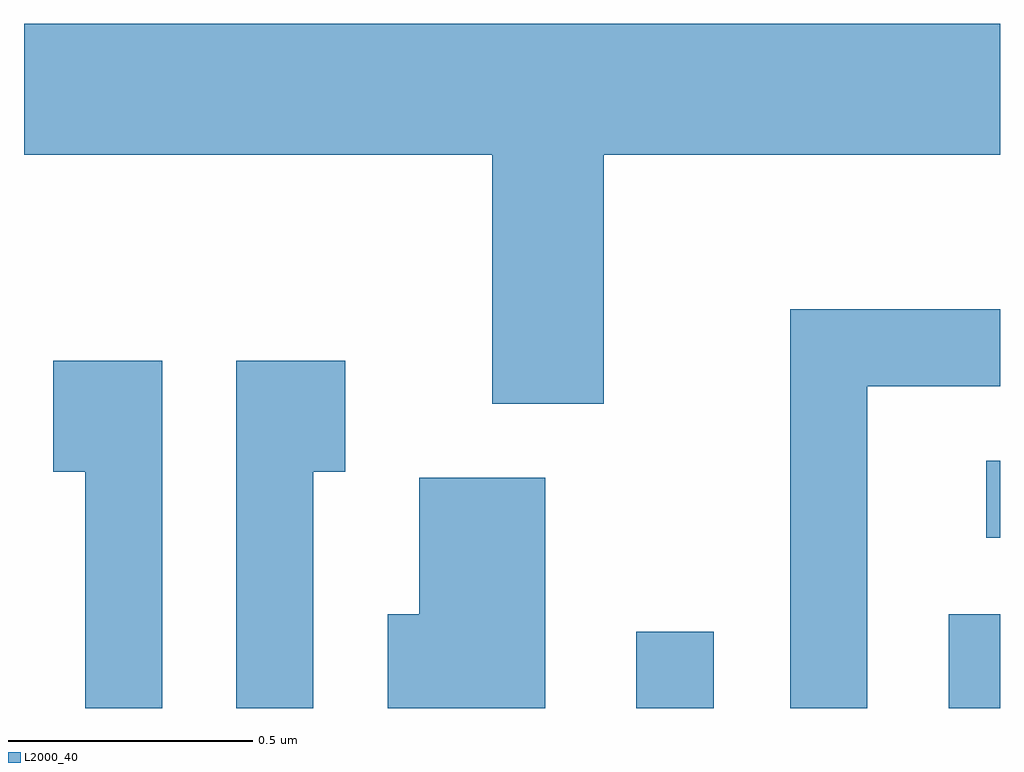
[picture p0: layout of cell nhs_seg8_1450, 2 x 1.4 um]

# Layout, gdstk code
import gdstk
lib = gdstk.Library(unit=1e-6, precision=1e-09)
def R(c, l, rs):  # rectangles x0, y0, x1, y1
    for r in rs: c.add(gdstk.rectangle(r[:2], r[2:], *l))
def P(c, l, *ps):  # polygons
    for p in ps: c.add(gdstk.Polygon(p, *l))
L2000_40 = (2000, 40)

nhs_seg8_1450 = lib.new_cell('nhs_seg8_1450')
R(nhs_seg8_1450, L2000_40, [(196.866,1886.342,197.024,1886.498), (197.506,1886.342,197.611,1886.534), (197.583,1886.691,197.611,1886.849)])
P(nhs_seg8_1450, L2000_40, [(196.799,1887.476),(197.611,1887.476),(197.611,1887.744),(195.611,1887.744),(195.611,1887.476),(196.571,1887.476),(196.571,1886.966),(196.799,1886.966)],
  [(197.339,1887.001),(197.611,1887.001),(197.611,1887.159),(197.181,1887.159),(197.181,1886.342),(197.339,1886.342)],
  [(195.894,1887.054),(195.671,1887.054),(195.671,1886.826),(195.736,1886.826),(195.736,1886.342),(195.894,1886.342)],
  [(196.204,1886.826),(196.269,1886.826),(196.269,1887.054),(196.046,1887.054),(196.046,1886.342),(196.204,1886.342)],
  [(196.679,1886.814),(196.421,1886.814),(196.421,1886.534),(196.356,1886.534),(196.356,1886.342),(196.679,1886.342)])

lib.write_gds('nhs_seg8_1450.gds')
